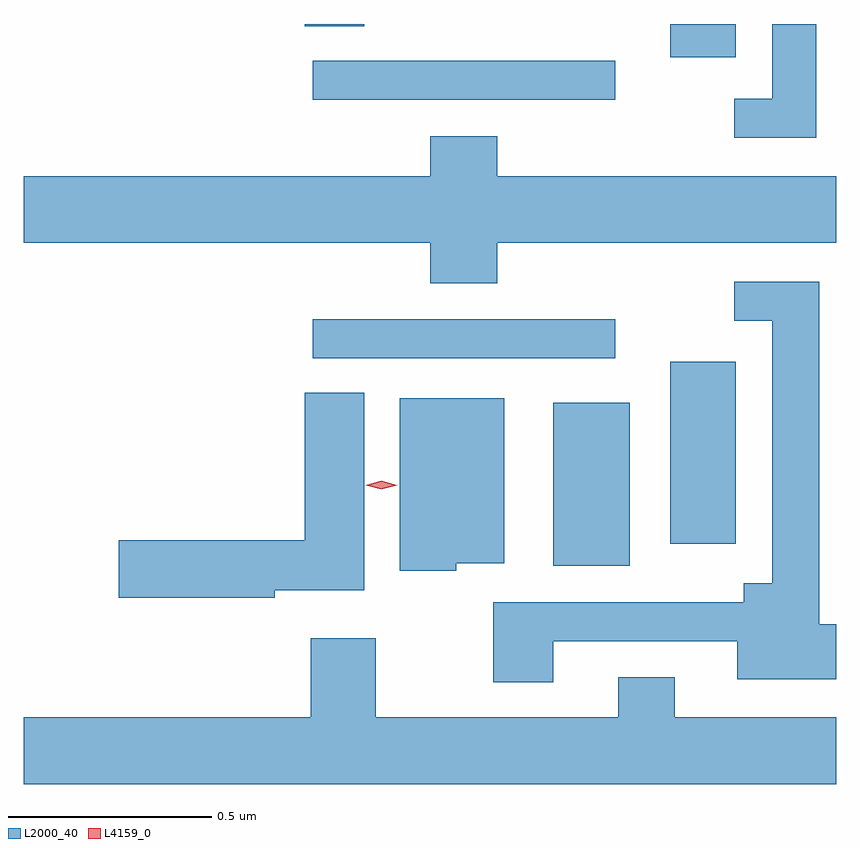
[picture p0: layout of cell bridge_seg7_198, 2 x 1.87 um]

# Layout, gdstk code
import gdstk
lib = gdstk.Library(unit=1e-6, precision=1e-09)
def R(c, l, rs):  # rectangles x0, y0, x1, y1
    for r in rs: c.add(gdstk.rectangle(r[:2], r[2:], *l))
def P(c, l, *ps):  # polygons
    for p in ps: c.add(gdstk.Polygon(p, *l))
L2000_40 = (2000, 40)
L4159_0 = (4159, 0)

bridge_seg7_198 = lib.new_cell('bridge_seg7_198')
R(bridge_seg7_198, L2000_40, [(397.064,1007.813,397.252,1008.214), (397.352,1007.868,397.513,1008.316), (396.471,1008.324,397.216,1008.42), (396.471,1008.96,397.216,1009.056), (397.352,1009.065,397.513,1009.147), (396.452,1009.141,396.598,1009.147)])
P(bridge_seg7_198, L2000_40, [(397.711,1009.147),(397.602,1009.147),(397.602,1008.963),(397.509,1008.963),(397.509,1008.867),(397.711,1008.867)],
  [(396.926,1008.608),(397.76,1008.608),(397.76,1008.772),(396.926,1008.772),(396.926,1008.871),(396.761,1008.871),(396.761,1008.772),(395.76,1008.772),(395.76,1008.608),(396.761,1008.608),(396.761,1008.509),(396.926,1008.509)],
  [(397.063,1007.628),(397.517,1007.628),(397.517,1007.534),(397.76,1007.534),(397.76,1007.669),(397.718,1007.669),(397.718,1008.513),(397.509,1008.513),(397.509,1008.417),(397.602,1008.417),(397.602,1007.77),(397.532,1007.77),(397.532,1007.724),(396.916,1007.724),(396.916,1007.526),(397.063,1007.526)],
  [(396.378,1007.753),(396.598,1007.753),(396.598,1008.239),(396.452,1008.239),(396.452,1007.876),(395.994,1007.876),(395.994,1007.734),(396.378,1007.734)],
  [(396.825,1007.819),(396.943,1007.819),(396.943,1008.226),(396.686,1008.226),(396.686,1007.801),(396.825,1007.801)],
  [(397.76,1007.44),(397.363,1007.44),(397.363,1007.539),(397.223,1007.539),(397.223,1007.44),(396.627,1007.44),(396.627,1007.635),(396.467,1007.635),(396.467,1007.44),(395.76,1007.44),(395.76,1007.276),(397.76,1007.276)])
P(bridge_seg7_198, L4159_0, [(396.64,1008.002),(396.602,1008.012),(396.602,1008.012),(396.602,1008.012),(396.64,1008.022),(396.679,1008.012),(396.679,1008.012),(396.679,1008.011)])

lib.write_gds('bridge_seg7_198.gds')
